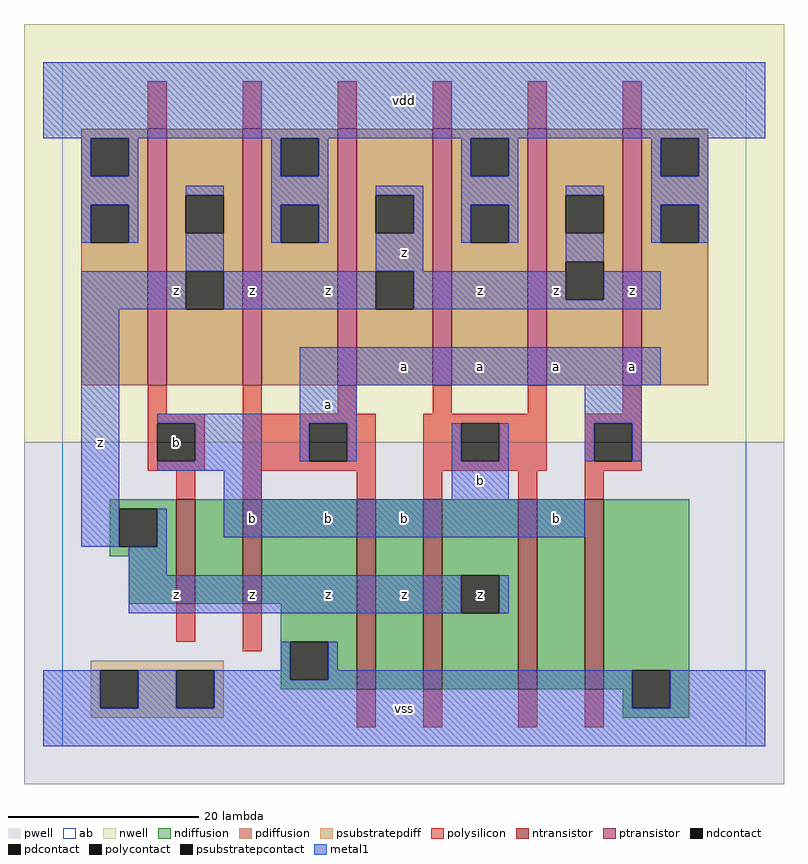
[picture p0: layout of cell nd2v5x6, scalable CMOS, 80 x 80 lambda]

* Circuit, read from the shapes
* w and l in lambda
.subckt nd2v5x6 a b vdd vss z
M1 n1 b z vss nfet w=11 l=2
M2 vss a n1 vss nfet w=11 l=2
M3 n2 a vss vss nfet w=20 l=2
M4 z b n2 vss nfet w=20 l=2
M5 n3 b z vss nfet w=20 l=2
M6 vss a n3 vss nfet w=20 l=2
M7 z b vdd n4 pfet w=27 l=2 m=3
M8 vdd a z n4 pfet w=27 l=2 m=3
.ends

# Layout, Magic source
magic
tech scmos
<< ab >>
rect 0 0 72 72
<< pwell >>
rect -4 -4 76 32
<< nwell >>
rect -4 32 76 76
<< polysilicon >>
rect 9 65 11 70
rect 19 65 21 70
rect 29 65 31 70
rect 39 65 41 70
rect 49 65 51 70
rect 59 65 61 70
rect 9 35 11 38
rect 19 35 21 38
rect 29 35 31 38
rect 39 35 41 38
rect 49 35 51 38
rect 59 35 61 38
rect 9 34 15 35
rect 9 30 10 34
rect 14 30 15 34
rect 9 29 15 30
rect 19 34 33 35
rect 19 30 26 34
rect 30 30 33 34
rect 19 29 33 30
rect 12 26 14 29
rect 19 26 21 29
rect 31 26 33 29
rect 38 34 51 35
rect 38 30 42 34
rect 46 30 51 34
rect 38 29 51 30
rect 55 34 61 35
rect 55 30 56 34
rect 60 30 61 34
rect 55 29 61 30
rect 38 26 40 29
rect 48 26 50 29
rect 55 26 57 29
rect 12 11 14 15
rect 19 10 21 15
rect 31 2 33 6
rect 38 2 40 6
rect 48 2 50 6
rect 55 2 57 6
<< ndiffusion >>
rect 5 25 12 26
rect 5 21 6 25
rect 10 21 12 25
rect 5 20 12 21
rect 7 15 12 20
rect 14 15 19 26
rect 21 15 31 26
rect 23 11 31 15
rect 23 7 24 11
rect 28 7 31 11
rect 23 6 31 7
rect 33 6 38 26
rect 40 18 48 26
rect 40 14 42 18
rect 46 14 48 18
rect 40 6 48 14
rect 50 6 55 26
rect 57 8 66 26
rect 57 6 60 8
rect 59 4 60 6
rect 64 4 66 8
rect 59 3 66 4
<< pdiffusion >>
rect 2 64 9 65
rect 2 60 3 64
rect 7 60 9 64
rect 2 57 9 60
rect 2 53 3 57
rect 7 53 9 57
rect 2 38 9 53
rect 11 58 19 65
rect 11 54 13 58
rect 17 54 19 58
rect 11 50 19 54
rect 11 46 13 50
rect 17 46 19 50
rect 11 38 19 46
rect 21 64 29 65
rect 21 60 23 64
rect 27 60 29 64
rect 21 57 29 60
rect 21 53 23 57
rect 27 53 29 57
rect 21 38 29 53
rect 31 58 39 65
rect 31 54 33 58
rect 37 54 39 58
rect 31 50 39 54
rect 31 46 33 50
rect 37 46 39 50
rect 31 38 39 46
rect 41 64 49 65
rect 41 60 43 64
rect 47 60 49 64
rect 41 57 49 60
rect 41 53 43 57
rect 47 53 49 57
rect 41 38 49 53
rect 51 58 59 65
rect 51 54 53 58
rect 57 54 59 58
rect 51 51 59 54
rect 51 47 53 51
rect 57 47 59 51
rect 51 38 59 47
rect 61 64 68 65
rect 61 60 63 64
rect 67 60 68 64
rect 61 57 68 60
rect 61 53 63 57
rect 67 53 68 57
rect 61 38 68 53
<< metal1 >>
rect -2 64 74 72
rect 2 60 3 64
rect 7 60 8 64
rect 2 57 8 60
rect 22 60 23 64
rect 27 60 28 64
rect 2 53 3 57
rect 7 53 8 57
rect 13 58 17 59
rect 13 50 17 54
rect 22 57 28 60
rect 42 60 43 64
rect 47 60 48 64
rect 22 53 23 57
rect 27 53 28 57
rect 33 58 38 59
rect 37 54 38 58
rect 33 50 38 54
rect 42 57 48 60
rect 62 60 63 64
rect 67 60 68 64
rect 42 53 43 57
rect 47 53 48 57
rect 53 58 57 59
rect 53 51 57 54
rect 62 57 68 60
rect 62 53 63 57
rect 67 53 68 57
rect 2 46 13 50
rect 17 46 33 50
rect 37 47 53 50
rect 57 47 63 50
rect 37 46 63 47
rect 2 21 6 46
rect 25 38 63 42
rect 10 34 21 35
rect 14 30 21 34
rect 25 34 31 38
rect 55 34 61 38
rect 25 30 26 34
rect 30 30 31 34
rect 41 30 42 34
rect 46 30 47 34
rect 55 30 56 34
rect 60 30 61 34
rect 10 29 21 30
rect 17 26 21 29
rect 41 26 47 30
rect 10 21 11 25
rect 17 22 55 26
rect 7 18 11 21
rect 7 14 42 18
rect 46 14 47 18
rect 23 8 24 11
rect -2 4 4 8
rect 8 4 12 8
rect 16 7 24 8
rect 28 8 29 11
rect 28 7 60 8
rect 16 4 60 7
rect 64 4 74 8
rect -2 0 74 4
<< ntransistor >>
rect 12 15 14 26
rect 19 15 21 26
rect 31 6 33 26
rect 38 6 40 26
rect 48 6 50 26
rect 55 6 57 26
<< ptransistor >>
rect 9 38 11 65
rect 19 38 21 65
rect 29 38 31 65
rect 39 38 41 65
rect 49 38 51 65
rect 59 38 61 65
<< polycontact >>
rect 10 30 14 34
rect 26 30 30 34
rect 42 30 46 34
rect 56 30 60 34
<< ndcontact >>
rect 6 21 10 25
rect 24 7 28 11
rect 42 14 46 18
rect 60 4 64 8
<< pdcontact >>
rect 3 60 7 64
rect 3 53 7 57
rect 13 54 17 58
rect 13 46 17 50
rect 23 60 27 64
rect 23 53 27 57
rect 33 54 37 58
rect 33 46 37 50
rect 43 60 47 64
rect 43 53 47 57
rect 53 54 57 58
rect 53 47 57 51
rect 63 60 67 64
rect 63 53 67 57
<< psubstratepcontact >>
rect 4 4 8 8
rect 12 4 16 8
<< psubstratepdiff >>
rect 3 8 17 9
rect 3 4 4 8
rect 8 4 12 8
rect 16 4 17 8
rect 3 3 17 4
<< labels >>
rlabel metal1 4 32 4 32 6 z
rlabel metal1 20 16 20 16 6 z
rlabel metal1 12 16 12 16 6 z
rlabel metal1 20 24 20 24 6 b
rlabel polycontact 12 32 12 32 6 b
rlabel metal1 12 48 12 48 6 z
rlabel metal1 20 48 20 48 6 z
rlabel metal1 36 4 36 4 6 vss
rlabel metal1 36 16 36 16 6 z
rlabel metal1 28 16 28 16 6 z
rlabel metal1 28 24 28 24 6 b
rlabel metal1 36 24 36 24 6 b
rlabel metal1 28 36 28 36 6 a
rlabel metal1 36 40 36 40 6 a
rlabel metal1 28 48 28 48 6 z
rlabel metal1 36 52 36 52 6 z
rlabel metal1 36 68 36 68 6 vdd
rlabel ndcontact 44 16 44 16 6 z
rlabel metal1 52 24 52 24 6 b
rlabel metal1 44 28 44 28 6 b
rlabel metal1 44 40 44 40 6 a
rlabel metal1 52 40 52 40 6 a
rlabel metal1 44 48 44 48 6 z
rlabel metal1 52 48 52 48 6 z
rlabel metal1 60 40 60 40 6 a
rlabel metal1 60 48 60 48 6 z
<< end >>
